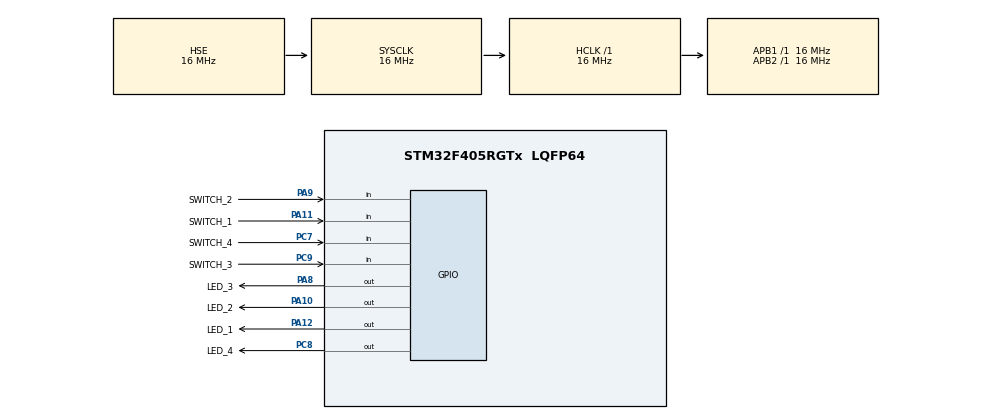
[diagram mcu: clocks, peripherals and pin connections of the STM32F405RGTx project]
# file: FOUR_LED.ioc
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Mcu.Family=STM32F4
Mcu.Name=STM32F405RGTx
Mcu.Package=LQFP64
NVIC.PriorityGroup=NVIC_PRIORITYGROUP_4
PA10.GPIO_Label=LED_2
PA10.Signal=GPIO_Output
PA11.GPIO_Label=SWITCH_1
PA11.Signal=GPIO_Input
PA12.GPIO_Label=LED_1
PA12.Signal=GPIO_Output
PA13.Mode=Serial_Wire
PA13.Signal=SYS_JTMS-SWDIO
PA14.Mode=Serial_Wire
PA14.Signal=SYS_JTCK-SWCLK
PA8.GPIO_Label=LED_3
PA8.Signal=GPIO_Output
PA9.GPIO_Label=SWITCH_2
PA9.Signal=GPIO_Input
PC7.GPIO_Label=SWITCH_4
PC7.Signal=GPIO_Input
PC8.GPIO_Label=LED_4
PC8.Signal=GPIO_Output
PC9.GPIO_Label=SWITCH_3
PC9.Signal=GPIO_Input
PH0-OSC_IN.Mode=HSE-External-Oscillator
PH0-OSC_IN.Signal=RCC_OSC_IN
PH1-OSC_OUT.Mode=HSE-External-Oscillator
PH1-OSC_OUT.Signal=RCC_OSC_OUT
ProjectManager.HeapSize=0x200
ProjectManager.StackSize=0x400
ProjectManager.TargetToolchain=MDK-ARM V5.32
RCC.AHBFreq_Value=16000000
RCC.APB1Freq_Value=16000000
RCC.APB2Freq_Value=16000000
RCC.CortexFreq_Value=16000000
RCC.HSE_VALUE=16000000
RCC.HSI_VALUE=16000000
RCC.LSE_VALUE=32768
RCC.PLLSourceVirtual=RCC_PLLSOURCE_HSE
RCC.SYSCLKFreq_VALUE=16000000
RCC.SYSCLKSource=RCC_SYSCLKSOURCE_HSE
RCC.VCOOutputFreq_Value=192000000
board=custom

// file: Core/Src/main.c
/* USER CODE BEGIN Header */
/**
  ******************************************************************************
  * @file           : main.c
  * @brief          : Main program body
  ******************************************************************************
  * @attention
  *
  * Copyright (c) 2023 STMicroelectronics.
  * All rights reserved.
  *
  * This software is licensed under terms that can be found in the LICENSE file
  * in the root directory of this software component.
  * If no LICENSE file comes with this software, it is provided AS-IS.
  *
  ******************************************************************************
  */
/* USER CODE END Header */
#include "main.h"

/* USER CODE BEGIN PM */
#define SWITCH_1 HAL_GPIO_ReadPin(GPIOA,GPIO_PIN_11)
#define SWITCH_2 HAL_GPIO_ReadPin(GPIOA,GPIO_PIN_9)
#define SWITCH_3 HAL_GPIO_ReadPin(GPIOC,GPIO_PIN_9)
#define SWITCH_4 HAL_GPIO_ReadPin(GPIOC,GPIO_PIN_7)
#define LED_1_OFF HAL_GPIO_WritePin(GPIOA,GPIO_PIN_12,GPIO_PIN_RESET)
#define LED_1_ON HAL_GPIO_WritePin(GPIOA,GPIO_PIN_12,GPIO_PIN_SET)
#define LED_2_OFF HAL_GPIO_WritePin(GPIOA,GPIO_PIN_10,GPIO_PIN_RESET)
#define LED_2_ON HAL_GPIO_WritePin(GPIOA,GPIO_PIN_10,GPIO_PIN_SET)
#define LED_3_OFF HAL_GPIO_WritePin(GPIOA,GPIO_PIN_8,GPIO_PIN_RESET)
#define LED_3_ON HAL_GPIO_WritePin(GPIOA,GPIO_PIN_8,GPIO_PIN_SET)
#define LED_4_OFF HAL_GPIO_WritePin(GPIOC,GPIO_PIN_8,GPIO_PIN_RESET)
#define LED_4_ON HAL_GPIO_WritePin(GPIOC,GPIO_PIN_8,GPIO_PIN_SET)

/* USER CODE END PM */

void SystemClock_Config(void);
static void MX_GPIO_Init(void);

int main(void)
{

  /* MCU Configuration--------------------------------------------------------*/

  /* Reset of all peripherals, Initializes the Flash interface and the Systick. */
  HAL_Init();

  /* Configure the system clock */
  SystemClock_Config();

  /* Initialize all configured peripherals */
  MX_GPIO_Init();

  /* Infinite loop */
  /* USER CODE BEGIN WHILE */
  while (1)
  {
		if(SWITCH_1==0)
			LED_1_OFF;
		else
			LED_1_ON;
		if(SWITCH_2==0)
			LED_2_OFF;
		else
			LED_2_ON;
		if(SWITCH_3==0)
			LED_3_OFF;
		else
			LED_3_ON;
		if(SWITCH_4==0)
			LED_4_OFF;
		else
			LED_4_ON;

    /* USER CODE END WHILE */

  }
}

void SystemClock_Config(void)
{
  RCC_OscInitTypeDef RCC_OscInitStruct = {0};
  RCC_ClkInitTypeDef RCC_ClkInitStruct = {0};

  /** Configure the main internal regulator output voltage
  */
  __HAL_RCC_PWR_CLK_ENABLE();
  __HAL_PWR_VOLTAGESCALING_CONFIG(PWR_REGULATOR_VOLTAGE_SCALE1);

  /** Initializes the RCC Oscillators according to the specified parameters
  * in the RCC_OscInitTypeDef structure.
  */
  RCC_OscInitStruct.OscillatorType = RCC_OSCILLATORTYPE_HSE;
  RCC_OscInitStruct.HSEState = RCC_HSE_ON;
  RCC_OscInitStruct.PLL.PLLState = RCC_PLL_NONE;
  if (HAL_RCC_OscConfig(&RCC_OscInitStruct) != HAL_OK)
  {
    Error_Handler();
  }

  /** Initializes the CPU, AHB and APB buses clocks
  */
  RCC_ClkInitStruct.ClockType = RCC_CLOCKTYPE_HCLK|RCC_CLOCKTYPE_SYSCLK
                              |RCC_CLOCKTYPE_PCLK1|RCC_CLOCKTYPE_PCLK2;
  RCC_ClkInitStruct.SYSCLKSource = RCC_SYSCLKSOURCE_HSE;
  RCC_ClkInitStruct.AHBCLKDivider = RCC_SYSCLK_DIV1;
  RCC_ClkInitStruct.APB1CLKDivider = RCC_HCLK_DIV1;
  RCC_ClkInitStruct.APB2CLKDivider = RCC_HCLK_DIV1;

  if (HAL_RCC_ClockConfig(&RCC_ClkInitStruct, FLASH_LATENCY_0) != HAL_OK)
  {
    Error_Handler();
  }
}

static void MX_GPIO_Init(void)
{
  GPIO_InitTypeDef GPIO_InitStruct = {0};

  /* GPIO Ports Clock Enable */
  __HAL_RCC_GPIOH_CLK_ENABLE();
  __HAL_RCC_GPIOC_CLK_ENABLE();
  __HAL_RCC_GPIOA_CLK_ENABLE();

  /*Configure GPIO pin Output Level */
  HAL_GPIO_WritePin(LED_4_GPIO_Port, LED_4_Pin, GPIO_PIN_RESET);

  /*Configure GPIO pin Output Level */
  HAL_GPIO_WritePin(GPIOA, LED_3_Pin|LED_2_Pin|LED_1_Pin, GPIO_PIN_RESET);

  /*Configure GPIO pins : SWITCH_4_Pin SWITCH_3_Pin */
  GPIO_InitStruct.Pin = SWITCH_4_Pin|SWITCH_3_Pin;
  GPIO_InitStruct.Mode = GPIO_MODE_INPUT;
  GPIO_InitStruct.Pull = GPIO_NOPULL;
  HAL_GPIO_Init(GPIOC, &GPIO_InitStruct);

  /*Configure GPIO pin : LED_4_Pin */
  GPIO_InitStruct.Pin = LED_4_Pin;
  GPIO_InitStruct.Mode = GPIO_MODE_OUTPUT_PP;
  GPIO_InitStruct.Pull = GPIO_NOPULL;
  GPIO_InitStruct.Speed = GPIO_SPEED_FREQ_LOW;
  HAL_GPIO_Init(LED_4_GPIO_Port, &GPIO_InitStruct);

  /*Configure GPIO pins : LED_3_Pin LED_2_Pin LED_1_Pin */
  GPIO_InitStruct.Pin = LED_3_Pin|LED_2_Pin|LED_1_Pin;
  GPIO_InitStruct.Mode = GPIO_MODE_OUTPUT_PP;
  GPIO_InitStruct.Pull = GPIO_NOPULL;
  GPIO_InitStruct.Speed = GPIO_SPEED_FREQ_LOW;
  HAL_GPIO_Init(GPIOA, &GPIO_InitStruct);

  /*Configure GPIO pins : SWITCH_2_Pin SWITCH_1_Pin */
  GPIO_InitStruct.Pin = SWITCH_2_Pin|SWITCH_1_Pin;
  GPIO_InitStruct.Mode = GPIO_MODE_INPUT;
  GPIO_InitStruct.Pull = GPIO_NOPULL;
  HAL_GPIO_Init(GPIOA, &GPIO_InitStruct);

}

void Error_Handler(void)
{
  __disable_irq();
  while (1)
  {
  }
}
